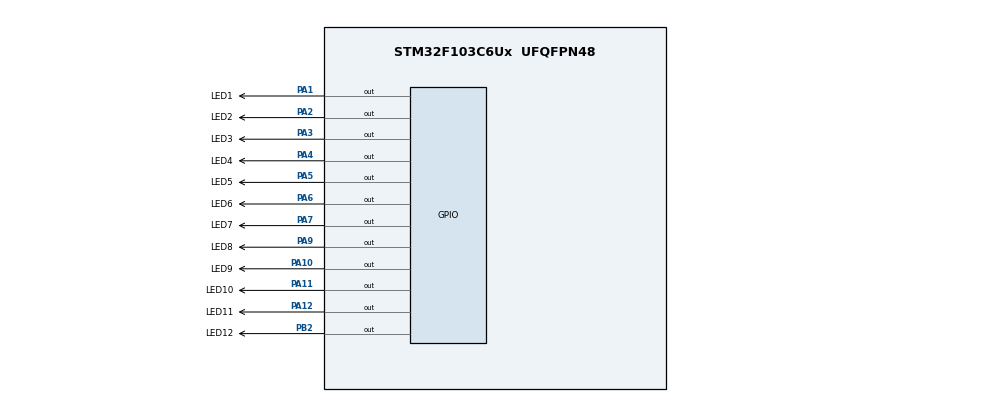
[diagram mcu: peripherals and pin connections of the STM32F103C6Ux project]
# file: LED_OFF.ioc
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Mcu.Family=STM32F1
Mcu.Name=STM32F103C6Ux
Mcu.Package=UFQFPN48
NVIC.PriorityGroup=NVIC_PRIORITYGROUP_4
PA1.GPIO_Label=LED1
PA1.Signal=GPIO_Output
PA10.GPIO_Label=LED9
PA10.Signal=GPIO_Output
PA11.GPIO_Label=LED10
PA11.Signal=GPIO_Output
PA12.GPIO_Label=LED11
PA12.Signal=GPIO_Output
PA2.GPIO_Label=LED2
PA2.Signal=GPIO_Output
PA3.GPIO_Label=LED3
PA3.Signal=GPIO_Output
PA4.GPIO_Label=LED4
PA4.Signal=GPIO_Output
PA5.GPIO_Label=LED5
PA5.Signal=GPIO_Output
PA6.GPIO_Label=LED6
PA6.Signal=GPIO_Output
PA7.GPIO_Label=LED7
PA7.Signal=GPIO_Output
PA9.GPIO_Label=LED8
PA9.Signal=GPIO_Output
PB2.GPIO_Label=LED12
PB2.Signal=GPIO_Output
ProjectManager.HeapSize=0x200
ProjectManager.StackSize=0x400
ProjectManager.TargetToolchain=STM32CubeIDE
RCC.APB1Freq_Value=8000000
RCC.APB2Freq_Value=8000000
VP_SYS_VS_ND.Mode=No_Debug
board=custom

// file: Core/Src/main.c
/* USER CODE BEGIN Header */
/**
  ******************************************************************************
  * @file           : main.c
  * @brief          : Main program body
  ******************************************************************************
  * @attention
  *
  * <h2><center>&copy; Copyright (c) 2022 STMicroelectronics.
  * All rights reserved.</center></h2>
  *
  * This software component is licensed by ST under BSD 3-Clause license,
  * the "License"; You may not use this file except in compliance with the
  * License. You may obtain a copy of the License at:
  *                        opensource.org/licenses/BSD-3-Clause
  *
  ******************************************************************************
  */
/* USER CODE END Header */
#include "main.h"

void SystemClock_Config(void);
static void MX_GPIO_Init(void);

int main(void)
{

  /* MCU Configuration--------------------------------------------------------*/

  /* Reset of all peripherals, Initializes the Flash interface and the Systick. */
  HAL_Init();

  /* Configure the system clock */
  SystemClock_Config();

  /* Initialize all configured peripherals */
  MX_GPIO_Init();

  /* Infinite loop */
  /* USER CODE BEGIN WHILE */

  void clearAllClock() {
	  HAL_GPIO_WritePin(LED1_GPIO_Port, LED1_Pin, RESET);
	  HAL_GPIO_WritePin(LED2_GPIO_Port, LED2_Pin, RESET);
	  HAL_GPIO_WritePin(LED3_GPIO_Port, LED3_Pin, RESET);
	  HAL_GPIO_WritePin(LED4_GPIO_Port, LED4_Pin, RESET);
	  HAL_GPIO_WritePin(LED5_GPIO_Port, LED5_Pin, RESET);
	  HAL_GPIO_WritePin(LED6_GPIO_Port, LED6_Pin, RESET);
	  HAL_GPIO_WritePin(LED7_GPIO_Port, LED7_Pin, RESET);
	  HAL_GPIO_WritePin(LED8_GPIO_Port, LED8_Pin, RESET);
	  HAL_GPIO_WritePin(LED9_GPIO_Port, LED9_Pin, RESET);
	  HAL_GPIO_WritePin(LED10_GPIO_Port, LED10_Pin, RESET);
	  HAL_GPIO_WritePin(LED11_GPIO_Port, LED11_Pin, RESET);
	  HAL_GPIO_WritePin(LED12_GPIO_Port, LED12_Pin, RESET);
  }

  void allLedOn() {
	  HAL_GPIO_WritePin(LED1_GPIO_Port, LED1_Pin, SET);
	  HAL_GPIO_WritePin(LED2_GPIO_Port, LED2_Pin, SET);
	  HAL_GPIO_WritePin(LED3_GPIO_Port, LED3_Pin, SET);
	  HAL_GPIO_WritePin(LED4_GPIO_Port, LED4_Pin, SET);
	  HAL_GPIO_WritePin(LED5_GPIO_Port, LED5_Pin, SET);
	  HAL_GPIO_WritePin(LED6_GPIO_Port, LED6_Pin, SET);
	  HAL_GPIO_WritePin(LED7_GPIO_Port, LED7_Pin, SET);
	  HAL_GPIO_WritePin(LED8_GPIO_Port, LED8_Pin, SET);
	  HAL_GPIO_WritePin(LED9_GPIO_Port, LED9_Pin, SET);
	  HAL_GPIO_WritePin(LED10_GPIO_Port, LED10_Pin, SET);
	  HAL_GPIO_WritePin(LED11_GPIO_Port, LED11_Pin, SET);
	  HAL_GPIO_WritePin(LED12_GPIO_Port, LED12_Pin, SET);
  }

  int counter = 0;
  while (1)
  {
	  if(counter % 2 == 0)
		  allLedOn();
	  else
		  clearAllClock();
	  counter++;
	  HAL_Delay(2000);
    /* USER CODE END WHILE */

  }
}

void SystemClock_Config(void)
{
  RCC_OscInitTypeDef RCC_OscInitStruct = {0};
  RCC_ClkInitTypeDef RCC_ClkInitStruct = {0};

  /** Initializes the RCC Oscillators according to the specified parameters
  * in the RCC_OscInitTypeDef structure.
  */
  RCC_OscInitStruct.OscillatorType = RCC_OSCILLATORTYPE_HSI;
  RCC_OscInitStruct.HSIState = RCC_HSI_ON;
  RCC_OscInitStruct.HSICalibrationValue = RCC_HSICALIBRATION_DEFAULT;
  RCC_OscInitStruct.PLL.PLLState = RCC_PLL_NONE;
  if (HAL_RCC_OscConfig(&RCC_OscInitStruct) != HAL_OK)
  {
    Error_Handler();
  }
  /** Initializes the CPU, AHB and APB buses clocks
  */
  RCC_ClkInitStruct.ClockType = RCC_CLOCKTYPE_HCLK|RCC_CLOCKTYPE_SYSCLK
                              |RCC_CLOCKTYPE_PCLK1|RCC_CLOCKTYPE_PCLK2;
  RCC_ClkInitStruct.SYSCLKSource = RCC_SYSCLKSOURCE_HSI;
  RCC_ClkInitStruct.AHBCLKDivider = RCC_SYSCLK_DIV1;
  RCC_ClkInitStruct.APB1CLKDivider = RCC_HCLK_DIV1;
  RCC_ClkInitStruct.APB2CLKDivider = RCC_HCLK_DIV1;

  if (HAL_RCC_ClockConfig(&RCC_ClkInitStruct, FLASH_LATENCY_0) != HAL_OK)
  {
    Error_Handler();
  }
}

static void MX_GPIO_Init(void)
{
  GPIO_InitTypeDef GPIO_InitStruct = {0};

  /* GPIO Ports Clock Enable */
  __HAL_RCC_GPIOA_CLK_ENABLE();
  __HAL_RCC_GPIOB_CLK_ENABLE();

  /*Configure GPIO pin Output Level */
  HAL_GPIO_WritePin(GPIOA, LED1_Pin|LED2_Pin|LED3_Pin|LED4_Pin
                          |LED5_Pin|LED6_Pin|LED7_Pin|LED8_Pin
                          |LED9_Pin|LED10_Pin|LED11_Pin, GPIO_PIN_RESET);

  /*Configure GPIO pin Output Level */
  HAL_GPIO_WritePin(LED12_GPIO_Port, LED12_Pin, GPIO_PIN_RESET);

  /*Configure GPIO pins : LED1_Pin LED2_Pin LED3_Pin LED4_Pin
                           LED5_Pin LED6_Pin LED7_Pin LED8_Pin
                           LED9_Pin LED10_Pin LED11_Pin */
  GPIO_InitStruct.Pin = LED1_Pin|LED2_Pin|LED3_Pin|LED4_Pin
                          |LED5_Pin|LED6_Pin|LED7_Pin|LED8_Pin
                          |LED9_Pin|LED10_Pin|LED11_Pin;
  GPIO_InitStruct.Mode = GPIO_MODE_OUTPUT_PP;
  GPIO_InitStruct.Pull = GPIO_NOPULL;
  GPIO_InitStruct.Speed = GPIO_SPEED_FREQ_LOW;
  HAL_GPIO_Init(GPIOA, &GPIO_InitStruct);

  /*Configure GPIO pin : LED12_Pin */
  GPIO_InitStruct.Pin = LED12_Pin;
  GPIO_InitStruct.Mode = GPIO_MODE_OUTPUT_PP;
  GPIO_InitStruct.Pull = GPIO_NOPULL;
  GPIO_InitStruct.Speed = GPIO_SPEED_FREQ_LOW;
  HAL_GPIO_Init(LED12_GPIO_Port, &GPIO_InitStruct);

}

void Error_Handler(void)
{
  __disable_irq();
  while (1)
  {
  }
}

/************************ (C) COPYRIGHT STMicroelectronics *****END OF FILE****/
